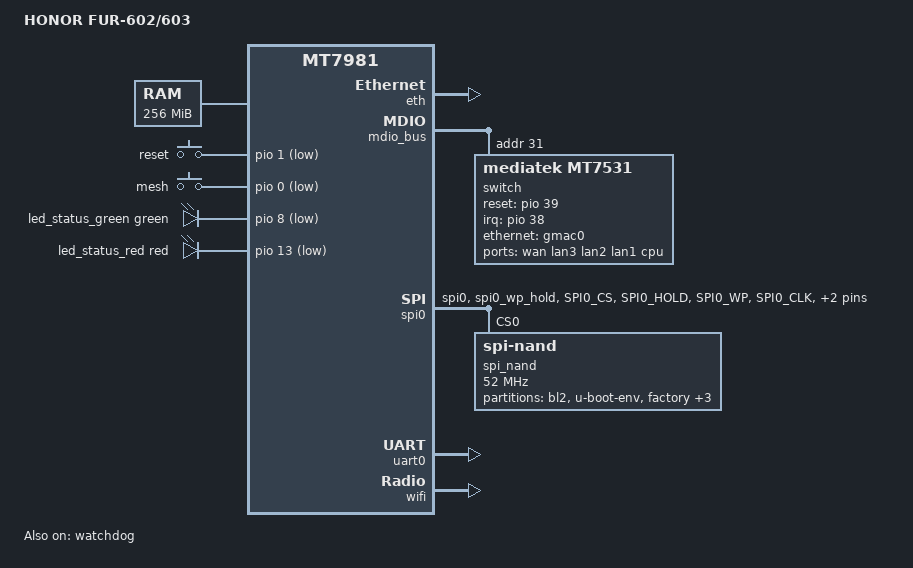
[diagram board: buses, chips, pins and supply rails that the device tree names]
// SPDX-License-Identifier: GPL-2.0-or-later OR MIT
//
// HONOR FUR-602 / FUR-603  (a.k.a. 荣耀 XU50 / XT50 / XC50, 联通定制版)
//   SoC   : MediaTek MT7981B (Filogic 820)
//   RAM   : 256 MiB DDR3
//   Flash : 128 MiB SPI-NAND, NMBM enabled
//   WLAN  : MT7981 2.4G 2x2 + MT7976CN 5G 2x2  = AX3000
//   ETH   : MT7531 switch, 1x 1G WAN + 3x 1G LAN, all behind gmac0
//
// Hardware facts in this file are taken from, and cross-checked against:
//   1. hanwckf/bl-mt798x @ 20241115  (tag, commit 15ad0ed949043bcb)
//        uboot-mtk-20230718-09eda825/arch/arm/dts/mt7981-honor_fur-602.dts
//          -> gpio 0/1 (keys), gpio 8/13 (LEDs), gpio 39 (switch reset),
//             gmac0 = 2500base-x / 2500 Mbps, "mediatek,switch = mt7531"
//        uboot-mtk-20230718-09eda825/configs/mt7981_honor_fur-602{,_multi_layout}_defconfig
//          -> 128 MiB SPI-NAND, NMBM
//        uboot-mtk-20230718-09eda825/board/mediatek/common/mtd_layout.c
//          -> mtd-layout expand(114m): bl2|u-boot-env|factory|Trace|fip|ubi(116736k)
//   2. hanwckf/immortalwrt-mt798x @ openwrt-21.02
//        target/linux/mediatek/files-5.4/arch/arm64/boot/dts/mediatek/mt7981-honor-fur-602.dts
//          -> authoritative port wiring, NMBM overlay, SPI calibration data,
//             same make/model string "HONOR FUR-602/603"
//        target/linux/mediatek/image/mt7981.mk (Device/honor_fur-602)
//          -> IMAGE_SIZE 116736k, KERNEL_IN_UBI, factory.bin + sysupgrade-tar
//
// This device tree follows the native ImmortalWrt 24.10 mediatek/filogic DSA
// layout (cf. mt7981b-h3c-magic-nx30-pro-nmbm.dts, mt7981b-qihoo-360t7.dts).
//
// Flash/upgrade model (matches what the bl-mt798x U-Boot actually does):
//   * The U-Boot boot path is mtd_boot_image() ->
//       get_mtd_device_nm("kernel") : if a *MTD partition* named "kernel"
//       exists it boots a bare FIT from it; otherwise it falls through to
//       get_mtd_device_nm("ubi") -> boot_from_ubi(), which reads the FIT out
//       of the UBI volume named "kernel".
//   * Our ubinize layout (KERNEL_IN_UBI=1) creates exactly the volumes
//     "kernel", "rootfs", "rootfs_data" -- so boot_from_ubi() is the path
//     that is exercised, and U-Boot additionally uses these same volume
//     names when flashing a sysupgrade tar (write_ubi2_tar_image).
//   * Therefore NO fitblk / rootdisk / volname="fit" is used here: that is a
//     different (newer) OpenWrt layout which would require a "fit" volume that
//     this U-Boot does not look for.
//
// Requires the hanwckf/bl-mt798x "mt7981_honor_fur-602" U-Boot (20241115 or
// the 20230718 build it is derived from) with the expand(114m) mtd layout.
// The stock HonOR U-Boot is signature-locked and cannot boot this firmware.

/dts-v1/;
#include <dt-bindings/gpio/gpio.h>
#include <dt-bindings/input/input.h>
#include <dt-bindings/leds/common.h>

#include "mt7981.dtsi"

/ {
	model = "HONOR FUR-602/603";
	compatible = "honor,fur-602", "mediatek,mt7981";

	aliases {
		serial0 = &uart0;
		label-mac-device = &gmac0;
		led-boot = &led_status_red;
		led-failsafe = &led_status_red;
		led-running = &led_status_green;
		led-upgrade = &led_status_green;
	};

	chosen {
		stdout-path = "serial0:115200n8";
	};

	memory {
		reg = <0 0x40000000 0 0x10000000>;
	};

	gpio-keys {
		compatible = "gpio-keys";

		button-reset {
			label = "reset";
			linux,code = <KEY_RESTART>;
			gpios = <&pio 1 GPIO_ACTIVE_LOW>;
		};

		button-mesh {
			label = "mesh";
			linux,code = <BTN_9>;
			linux,input-type = <EV_SW>;
			gpios = <&pio 0 GPIO_ACTIVE_LOW>;
		};
	};

	leds {
		compatible = "gpio-leds";

		led_status_green: green {
			function = LED_FUNCTION_STATUS;
			color = <LED_COLOR_ID_GREEN>;
			gpios = <&pio 8 GPIO_ACTIVE_LOW>;
		};

		led_status_red: red {
			function = LED_FUNCTION_STATUS;
			color = <LED_COLOR_ID_RED>;
			gpios = <&pio 13 GPIO_ACTIVE_LOW>;
		};
	};
};

&eth {
	status = "okay";

	gmac0: mac@0 {
		compatible = "mediatek,eth-mac";
		reg = <0>;
		phy-mode = "2500base-x";

		nvmem-cells = <&macaddr_factory_2a>;
		nvmem-cell-names = "mac-address";

		fixed-link {
			speed = <2500>;
			full-duplex;
			pause;
		};
	};
};

&mdio_bus {
	switch: switch@1f {
		compatible = "mediatek,mt7531";
		reg = <31>;
		reset-gpios = <&pio 39 GPIO_ACTIVE_HIGH>;
		interrupt-controller;
		#interrupt-cells = <1>;
		interrupt-parent = <&pio>;
		interrupts = <38 IRQ_TYPE_LEVEL_HIGH>;
	};
};

&spi0 {
	pinctrl-names = "default";
	pinctrl-0 = <&spi0_flash_pins>;
	status = "okay";

	spi_nand: spi_nand@0 {
		compatible = "spi-nand";
		#address-cells = <1>;
		#size-cells = <1>;
		reg = <0>;

		spi-max-frequency = <52000000>;
		spi-tx-bus-width = <4>;
		spi-rx-bus-width = <4>;

		/*
		 * NMBM: matches CONFIG_ENABLE_NAND_NMBM=y in the bl-mt798x
		 * mt7981_honor_fur-602 U-Boot, which maps the whole chip through
		 * its own bad-block table. The BMT area is carved out of the
		 * top of the device, so the partitions below are the *free*
		 * area and must stay in sync with the U-Boot mtd-layout
		 * "expand(114m)" mtdparts string.
		 */
		mediatek,nmbm;
		mediatek,bmt-max-ratio = <1>;
		mediatek,bmt-max-reserved-blocks = <64>;

		/*
		 * SPI calibration data, taken verbatim from the hanwckf
		 * reference DTS for this board. Without it the SPI-NAND
		 * controller may sample at the wrong delay on this PCB.
		 */
		spi-cal-enable;
		spi-cal-mode = "read-data";
		spi-cal-datalen = <7>;
		spi-cal-data = /bits/ 8 <0x53 0x50 0x49 0x4E 0x41 0x4E 0x44>; /* 'SPINAND' */
		spi-cal-addrlen = <5>;
		spi-cal-addr = /bits/ 32 <0x0 0x0 0x0 0x0 0x0>;

		partitions {
			compatible = "fixed-partitions";
			#address-cells = <1>;
			#size-cells = <1>;

			partition@0 {
				label = "bl2";
				reg = <0x0000000 0x0100000>;
				read-only;
			};

			partition@100000 {
				label = "u-boot-env";
				reg = <0x0100000 0x0080000>;
			};

			factory: partition@180000 {
				label = "factory";
				reg = <0x0180000 0x01e0000>;
				read-only;

				nvmem-layout {
					compatible = "fixed-layout";
					#address-cells = <1>;
					#size-cells = <1>;

					macaddr_factory_24: macaddr@24 {
						reg = <0x24 0x6>;
					};

					macaddr_factory_2a: macaddr@2a {
						reg = <0x2a 0x6>;
					};
				};
			};

			partition@360000 {
				label = "trace";
				reg = <0x0360000 0x0020000>;
				read-only;
			};

			partition@380000 {
				label = "fip";
				reg = <0x0380000 0x0200000>;
				read-only;
			};

			partition@580000 {
				label = "ubi";
				reg = <0x0580000 0x7200000>;
			};
		};
	};
};

&switch {
	ports {
		#address-cells = <1>;
		#size-cells = <0>;

		port@0 {
			reg = <0>;
			label = "wan";
			nvmem-cells = <&macaddr_factory_24>;
			nvmem-cell-names = "mac-address";
		};

		port@1 {
			reg = <1>;
			label = "lan3";
		};

		port@2 {
			reg = <2>;
			label = "lan2";
		};

		port@3 {
			reg = <3>;
			label = "lan1";
		};

		port@6 {
			reg = <6>;
			label = "cpu";
			ethernet = <&gmac0>;
			phy-mode = "2500base-x";

			fixed-link {
				speed = <2500>;
				full-duplex;
				pause;
			};
		};
	};
};

&pio {
	spi0_flash_pins: spi0-pins {
		mux {
			function = "spi";
			groups = "spi0", "spi0_wp_hold";
		};

		conf-pu {
			pins = "SPI0_CS", "SPI0_HOLD", "SPI0_WP";
			drive-strength = <MTK_DRIVE_8mA>;
			bias-pull-up = <MTK_PUPD_SET_R1R0_11>;
		};

		conf-pd {
			pins = "SPI0_CLK", "SPI0_MOSI", "SPI0_MISO";
			drive-strength = <MTK_DRIVE_8mA>;
			bias-pull-down = <MTK_PUPD_SET_R1R0_11>;
		};
	};
};

&uart0 {
	status = "okay";
};

&watchdog {
	status = "okay";
};

&wifi {
	status = "okay";

	/*
	 * WiFi EEPROM / calibration data lives at offset 0 of the "factory"
	 * partition. This is the de-facto MT7981 convention and matches the
	 * hanwckf reference board support (LEDE 5.4 used the same layout).
	 * TODO(verify-on-hardware): confirm the 2.4G/5G eeprom blobs are
	 * actually present at 0x0 by dumping "factory" on a real unit.
	 */
	mediatek,mtd-eeprom = <&factory 0x0>;
};
